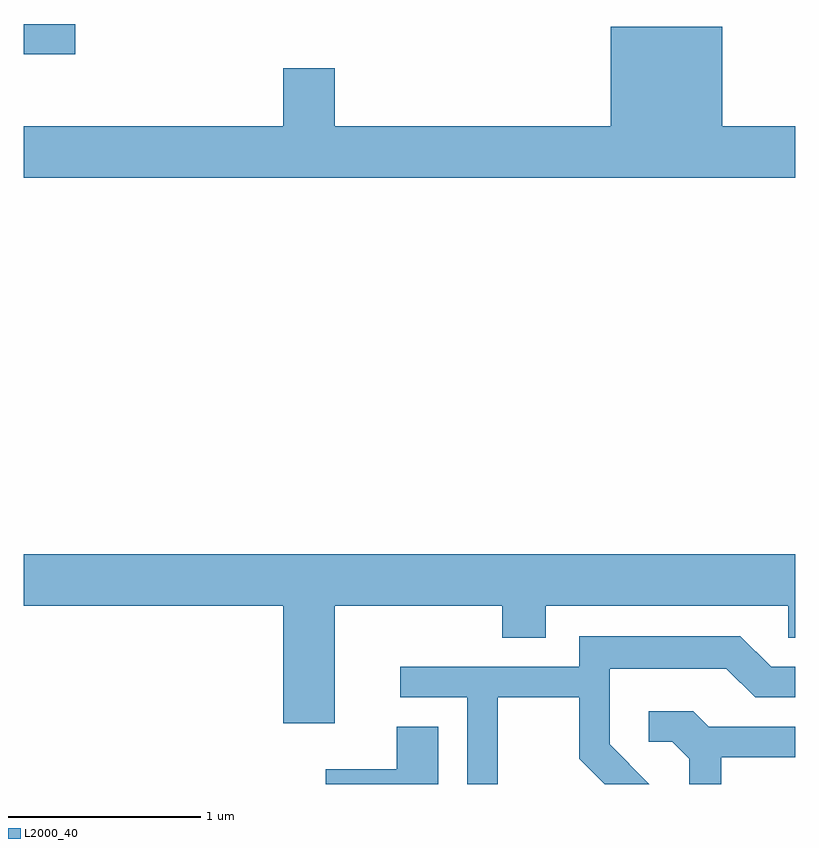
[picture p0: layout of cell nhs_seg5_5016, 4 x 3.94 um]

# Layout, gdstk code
import gdstk
lib = gdstk.Library(unit=1e-6, precision=1e-09)
def R(c, l, rs):  # rectangles x0, y0, x1, y1
    for r in rs: c.add(gdstk.rectangle(r[:2], r[2:], *l))
def P(c, l, *ps):  # polygons
    for p in ps: c.add(gdstk.Polygon(p, *l))
L2000_40 = (2000, 40)

nhs_seg5_5016 = lib.new_cell('nhs_seg5_5016')
R(nhs_seg5_5016, L2000_40, [(333.611,1481.856,333.878,1482.014)])
P(nhs_seg5_5016, L2000_40, [(337.611,1481.484),(337.234,1481.484),(337.234,1481.999),(336.656,1481.999),(336.656,1481.484),(335.224,1481.484),(335.224,1481.784),(334.956,1481.784),(334.956,1481.484),(333.611,1481.484),(333.611,1481.216),(337.611,1481.216)],
  [(335.224,1478.996),(336.091,1478.996),(336.091,1478.831),(336.319,1478.831),(336.319,1478.996),(337.576,1478.996),(337.576,1478.831),(337.611,1478.831),(337.611,1479.264),(333.611,1479.264),(333.611,1478.996),(334.956,1478.996),(334.956,1478.386),(335.224,1478.386)],
  [(336.069,1478.521),(336.491,1478.521),(336.491,1478.204),(336.623,1478.072),(336.854,1478.072),(336.649,1478.277),(336.649,1478.671),(337.254,1478.671),(337.404,1478.521),(337.611,1478.521),(337.611,1478.679),(337.487,1478.679),(337.327,1478.839),(336.491,1478.839),(336.491,1478.679),(335.563,1478.679),(335.563,1478.521),(335.911,1478.521),(335.911,1478.072),(336.069,1478.072)],
  [(337.229,1478.211),(337.611,1478.211),(337.611,1478.369),(337.162,1478.369),(337.082,1478.449),(336.853,1478.449),(336.853,1478.291),(336.974,1478.291),(337.061,1478.204),(337.061,1478.072),(337.229,1478.072)],
  [(335.759,1478.369),(335.546,1478.369),(335.546,1478.149),(335.176,1478.149),(335.176,1478.072),(335.759,1478.072)])

lib.write_gds('nhs_seg5_5016.gds')
